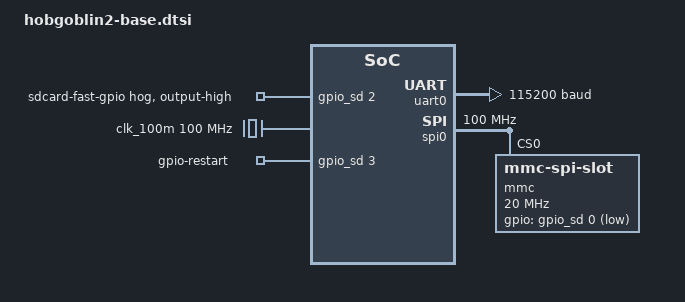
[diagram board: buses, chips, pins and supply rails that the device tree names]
// SPDX-License-Identifier: (GPL-2.0 OR MIT)
/*
 * Copyright (c) 2025 Codasip GmbH
 *
 * A730 Hobgoblin FPGA platform base description. This dts includes all the
 * hardware that is not dependent the particular FPGA platform. Depending on
 * the board, some of this hardware may not actually be connected to anything
 * sensible, but the registers and controllers will exist. Note that this
 * means that the DDR is *not* included in here since that is board specific.
 *
 */

#include "dt-bindings/gpio/gpio.h"

/ {
	#address-cells = <2>;
	#size-cells = <2>;

	aliases {
		serial0 = &uart0;
		spi0 = &spi0;
	};

	soc: soc@0 {
		#address-cells = <1>;
		#size-cells = <1>;
		compatible = "simple-bus";
		/* child-bus-address parent-bus-address*2 length */
		ranges = <0x0 0x0 0x0 0x80000000>;
		dma-noncoherent;

		plic: interrupt-controller@18000000 {
			compatible = "codasip,plic", "sifive,plic-1.0.0", "riscv,plic0";
			reg = <0x18000000 0x400000>;
			#address-cells = <0>;

			/* Downstream interrupts - how are they specified/how many are available */
			interrupt-controller;
			#interrupt-cells = <1>;
			riscv,ndev = <63>; /* 1 to 63 inclusive */
			#if NUM_CORES == 1
			interrupts-extended = < &cpu0_intc 11 &cpu0_intc 9 >;
			#elif NUM_CORES == 4
			interrupts-extended = < &cpu0_intc 11 &cpu0_intc 9
						&cpu1_intc 11 &cpu1_intc 9
						&cpu2_intc 11 &cpu2_intc 9
						&cpu3_intc 11 &cpu3_intc 9
					      >;
			#else
			#error "Unsupported number of cores"
			#endif
		};

		clint: timer@10804000 {
			compatible = "codasip,clint", "sifive,clint0",  "riscv,clint0";
			reg = <0x10804000 0xC000>;
			/*
			 * You don't actually need to change this for Linux
			 * from the single processor version, since the code
			 * just finds the first match and then assumes that
			 * all the other CPUs have the same numbers.
			 */
			#if NUM_CORES == 1
			interrupts-extended = < &cpu0_intc 3 &cpu0_intc 7 >;
			#elif NUM_CORES == 4
			interrupts-extended = < &cpu0_intc 3 &cpu0_intc 7
						&cpu1_intc 3 &cpu1_intc 7
						&cpu2_intc 3 &cpu2_intc 7
						&cpu3_intc 3 &cpu3_intc 7
					      >;
			#else
			#error "Unsupported number of cores"
			#endif
		};

		uart0: serial@10101000 {
			compatible = "ns16550a";
			reg = <0x10101000 0x1000>;

			/* Required by OpenSBI */
			/* UART clock frequency */
			clock-frequency = <100000000>;
			current-speed = <115200>;
			reg-shift = <2>;

			/* Upstream interrupts */
			interrupts-extended = <&plic 1>;
		};

		spi0: spi@10210000 {
			compatible = "xlnx,xps-spi-2.00.a";
			reg = <0x10210000 0x1000>;
			xlnx,num-ss-bits = <1>;
			xlnx,num-transfer-bits = <8>;
			clock-frequency = <100000000>;
			interrupts-extended = <&plic 4>;
			fifo-size = <256>;	/* Needed for U-Boot */

			#address-cells = <1>;
			#size-cells = <0>;

			mmc@0 {
				compatible = "mmc-spi-slot";
				reg = <0>;
				spi-max-frequency = <20000000>;
				voltage-ranges = <3300 3300>;
				disable-wp;
				/* card-detect, write-protect */
				gpios = <&gpio_sd 0 GPIO_ACTIVE_LOW>;
			};
		};

		gpio_io: gpio@10300000 {
			compatible = "xlnx,xps-gpio-1.00.a";
			reg = <0x10300000 0x10000>;
			#gpio-cells = <2>;
			#interrupt-cells = <0x2>;
			#address-cells = <0>;
			/* clocks = <&zynqmp_clk 71>; */
			gpio-controller;
			interrupt-controller;
			interrupts-extended = <&plic 7>;
			xlnx,all-inputs = <0x0>;
			xlnx,all-outputs = <0x0>;
			xlnx,dout-default = <0x0>;
			xlnx,gpio-width = <0x20>;
			xlnx,interrupt-present = <0x1>;
			xlnx,is-dual = <0x0>;
			xlnx,tri-default = <0xfe>;
		};

		gpio_sd: gpio@10310000 {
			compatible = "xlnx,xps-gpio-1.00.a";
			reg = <0x10310000 0x10000>;
			#gpio-cells = <2>;
			#interrupt-cells = <0x2>;
			#address-cells = <0>;
			/* clocks = <&zynqmp_clk 71>; */
			gpio-controller;
			interrupt-controller;
			interrupts-extended = <&plic 8>;
			xlnx,all-inputs = <0x0>;
			xlnx,all-outputs = <0x0>;
			xlnx,dout-default = <0x0>;
			xlnx,gpio-width = <0x20>;
			xlnx,interrupt-present = <0x1>;
			xlnx,is-dual = <0x0>;
			xlnx,tri-default = <0x01>;

			sdcard_hog {
				gpio-hog;
				gpios = <2 GPIO_ACTIVE_HIGH>;
				output-high;
				line-name = "sdcard-fast-gpio";
			};
		};

		trng: trng@10510000 {
			compatible = "codasip,codasip-rng";
			reg = <0x10510000 0x1000>;
		};

		user_timer: timer@10600000 {
			compatible = "xlnx,axi-timer-2.0", "xlnx,xps-timer-1.00.a";
			reg = <0x10600000 0x1000>;
			clock-frequency = <100000000>; /* 100 MHz */
			interrupts-extended = <&plic 9>;
			xlnx,one-timer-only = <0x01>;
			xlnx,count-width = <0x20>;
		};
	};

	/*
	 * PCIe has some address space in 64 bit memory space, so we need to
	 * create a 64 bit address space to put them in
	 */
	soc64: soc64@0  {
		#address-cells = <2>;
		#size-cells = <2>;
		compatible = "simple-bus";
		/* child-bus-address parent-bus-address*2 length */
		ranges = <0x00 0x0 0x00 0x0 0x40 0x0>;
		dma-noncoherent;
	};


	/* Interconnect runs off this clock */
	clk_100m: clock {
		compatible = "fixed-clock";
		#clock-cells = <0>;
		clock-frequency = <100000000>;
	};

	gpio-restart {
		compatible = "gpio-restart";
		gpios = <&gpio_sd 3 GPIO_ACTIVE_HIGH>;
	};
};
